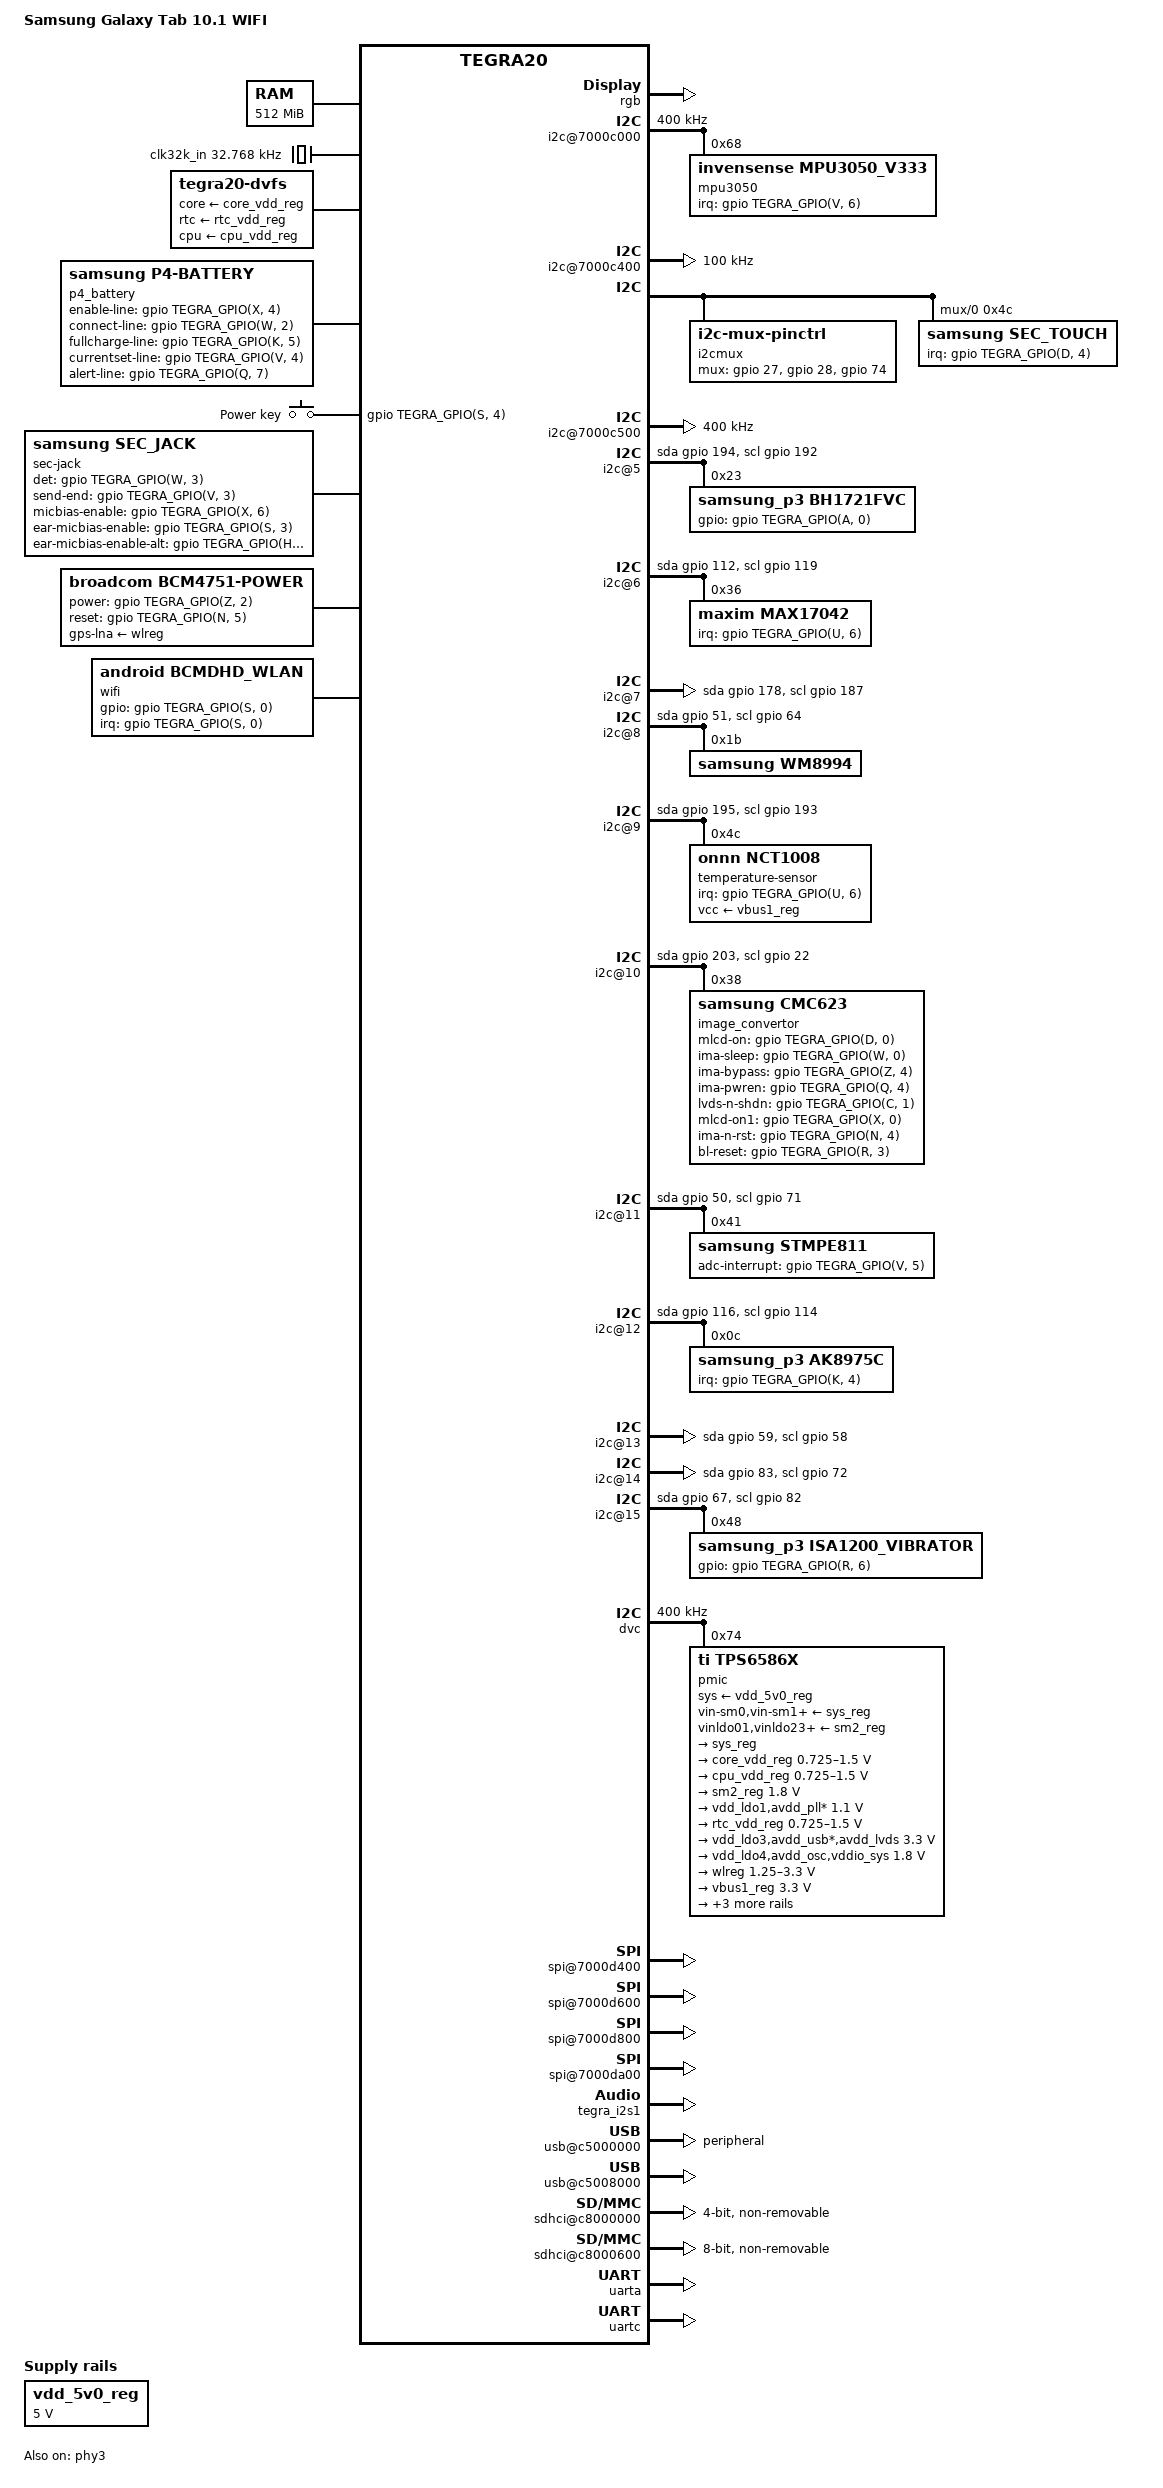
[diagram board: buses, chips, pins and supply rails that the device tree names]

/dts-v1/;

#include <dt-bindings/input/input.h>
#include "tegra20.dtsi"

/ {
	model = "Samsung Galaxy Tab 10.1 WIFI";
	compatible = "nvidia,samsung_p3", "nvidia,tegra20";

	aliases {
		rtc0 = "/i2c@7000d000/tps6586x@74";
		serial0 = &uarta;
		serial2 = &uartc;
	};

	chosen {
		bootargs = "androidboot.selinux=permissive androidboot.hardware=p3 firmware_class.path=/system/etc/firmware g_ffs.idVendor=0x18d1 g_ffs.idProduct=0x4e26 ignore_loglevel";
	};

	cache-controller@50043000 {
		compatible = "arm,pl310-cache";
		arm,prefetch-offset = <5>;
		/* arm,shared-override; */
		cache-size = <0x100000>; // 1MB
		cache-sets = <4096>;
		cache-line-size = <32>;
	};

	memory {
		reg = <0x00000000 0x1FF00000>;
		reg = <0x20000000 0x20000000>;
	};

	/* Disable tegra20-rtc because it breaks tps6586x rtc */
	rtc@7000e000 {
		compatible = "nvidia,tegra20-rtc";
		status = "disabled";
	};

	clocks {
		compatible = "simple-bus";
		#address-cells = <1>;
		#size-cells = <0>;

		clk32k_in: clock@0 {
			compatible = "fixed-clock";
			reg=<0>;
			#clock-cells = <0>;
			clock-frequency = <32768>;
		};
	};

	cmc623_pwm {
		compatible = "samsung,cmc623-pwm";

		default-brightness = <150>;

		max-brightness = <255>;
		mid-brightness = <150>;
		low-brightness = <50>;
		dim-brightness = <15>;

		max-backlight = <1600>;
		mid-backlight = <784>;
		low-backlight = <90>;
		dim-backlight = <50>;
		dark-backlight = <0>;
	};

	nvmap {
		compatible = "nvidia,tegra-nvmap";
		#address-cells = <1>;
		#size-cells = <1>;
		ranges;

		carveouts {
			#address-cells = <1>;
			#size-cells = <1>;
			ranges;

			iram {
				reg = <0x40000400 0x3FC00>;
				reg-names = "iram";
				buddy-size = <0>;
				usage-mask = <0x20000000>;
			};

			generic {
				reg = <0x30000000 0x10000000>;
				reg-names = "generic-0";
				buddy-size = <0x8000>;
				usage-mask = <0x1>;
			};
		};
	};

	host1x@50000000 {
		compatible = "nvidia,tegra20-host1x", "nvhost-bus";
		ranges;

		mpe@54040000 {
			clock-names = "mpe";
		};

		gr3d@54180000 {
			clock-names = "gr3d";
		};

		gr2d@54140000 {
			clocks = <&tegra_car TEGRA20_CLK_GR2D>,
				 <&tegra_car TEGRA20_CLK_EPP>;
			clock-names = "gr2d", "epp";
		};

		epp@540c0000 {
			clock-names = "epp";
		};

		dc@54200000 {
			reg = <0x54200000 0x00040000>,
			      <0x2E700000 0x00900000>;
			reg-names = "regs", "fbmem";
			interrupt-names = "irq";

			rgb {
				status = "okay";

				display {
					fb-win = <0>;
					fb-xres = <1280>;
					fb-yres = <800>;
					fb-bpp = <32>;

					dc-index = <0>;

					flags = <1>; /* TEGRA_DC_FLAG_ENABLED */

					type = <0>; /* TEGRA_DC_OUT_RGB */
					order = <0>; /* TEGRA_DC_ORDER_RED_BLUE */
					align = <0>; /* TEGRA_DC_ALIGN_MSB */
					depth = <24>;
					dither = <3>; /* TEGRA_DC_ERRDIFF_DITHER */

					default-emc-rate = <300000000>;
					min-emc-rate = <300000000>;

					display-timings {
						native-mode = <&timing0>;
						timing0: cmc623-lsi {
							clock-frequency = <68941176>;
							hactive = <1280>;
							vactive = <800>;
							hfront-porch = <16>;
							hback-porch = <64>;
							hsync-len = <48>;
							vsync-len = <3>;
							vfront-porch = <2>;
							vback-porch = <11>;
						};
						timing1: cmc623-fujitsu {
							clock-frequency = <76000000>;
							hactive = <1280>;
							vactive = <800>;
							hfront-porch = <16>;
							hback-porch = <64>;
							hsync-len = <48>;
							vsync-len = <18>;
							vfront-porch = <6>;
							vback-porch = <76>;
						};
					};
				};
			};
		};
	};

	tegra-avp {
		compatible = "nvidia,tegra20-avp";
		interrupts = <GIC_SPI 4 IRQ_TYPE_LEVEL_HIGH>;
		interrupt-names = "mbox_from_avp_pending";
		clocks = <&tegra_car TEGRA20_CLK_COP>,
			 <&tegra_car TEGRA20_CLK_VCP>,
			 <&tegra_car TEGRA20_CLK_BSEA>,
			 <&tegra_car TEGRA20_CLK_VDE>;
		clock-names = "cop", "vcp", "bsea", "vde";
		resets = <&tegra_car TEGRA20_CLK_COP>,
			 <&tegra_car TEGRA20_CLK_VCP>,
			 <&tegra_car TEGRA20_CLK_BSEA>,
			 <&tegra_car TEGRA20_CLK_VDE>;
		reset-names = "cop", "vcp", "bsea", "vde";
	};

	pinmux@70000014 {
		pinctrl-names = "default";
		pinctrl-0 = <&state_default>;

		state_default: pinmux {
			ata {
				nvidia,pins = "ata", "atc", "atd", "ate", "gmb",
					"gmd", "irrx", "irtx", "spid", "spie";
				nvidia,function = "gmi";
			};
			atb {
				nvidia,pins = "atb", "gma", "gme";
				nvidia,function = "sdio4";
			};
			cdev1 {
				nvidia,pins = "cdev1";
				nvidia,function = "plla_out";
			};
			cdev2 {
				nvidia,pins = "cdev2";
				nvidia,function = "pllp_out4";
			};
			crtp {
				nvidia,pins = "crtp";
				nvidia,function = "crt";
			};
			csus {
				nvidia,pins = "csus";
				nvidia,function = "vi_sensor_clk";
			};
			dap1 {
				nvidia,pins = "dap1";
				nvidia,function = "dap1";
			};
			dap2 {
				nvidia,pins = "dap2";
				nvidia,function = "dap2";
			};
			dap3 {
				nvidia,pins = "dap3";
				nvidia,function = "dap3";
			};
			dap4 {
				nvidia,pins = "dap4";
				nvidia,function = "dap4";
			};
			ddc {
				nvidia,pins ="spif", "uac";
				nvidia,function = "rsvd4";
			};
			spif {
				nvidia,pins = "spif", "uac";
				nvidia,function = "rsvd4";
			};
			dta {
				nvidia,pins = "dta", "dtb", "dtc", "dtd", "dte";
				nvidia,function = "vi";
			};
			dtf {
				nvidia,pins = "dtf";
				nvidia,function = "i2c3";
			};
			gmc {
				nvidia,pins = "gmc";
				nvidia,function = "uartd";
			};
			gpu {
				nvidia,pins = "gpu";
				nvidia,function = "uarta";
			};
			gpu7 {
				nvidia,pins = "gpu7";
				nvidia,function = "rtck";
			};
			gpv {
				nvidia,pins = "gpv", "slxa", "slxk";
				nvidia,function = "pcie";
			};
			hdint {
				nvidia,pins = "hdint";
				nvidia,function = "hdmi";
			};
			i2cp {
				nvidia,pins = "i2cp";
				nvidia,function = "i2cp";
			};
			kbca {
				nvidia,pins = "kbca", "kbcb", "kbcc", "kbcd",
					"kbce", "kbcf";
				nvidia,function = "kbc";
			};
			lcsn {
				nvidia,pins = "lcsn",
					"ld0", "ld1", "ld2", "ld3", "ld4",
					"ld5", "ld6", "ld7", "ld8", "ld9",
					"ld10", "ld11", "ld12", "ld13", "ld14",
					"ld15", "ld16", "ld17", "ldc", "ldi",
					"lhp0", "lhp1", "lhp2", "lhs",
					"lm1", "lpp", "lpw1",
					"lsc0", "lsck", "lsda", "lsdi",
					"lspi", "lvp0", "lvp1", "lvs";
				nvidia,function = "displaya";
			};
			lm0 {
				nvidia,pins = "lm0", "lpw0", "lpw2", "lsc1";
				nvidia,function = "spi3";
			};
			owc {
				nvidia,pins = "owc";
				nvidia,function = "owr";
			};
			pmc {
				nvidia,pins = "pmc";
				nvidia,function = "pwr_on";
			};
			rm {
				nvidia,pins = "rm";
				nvidia,function = "i2c1";
			};
			sdb {
				nvidia,pins = "sdb", "sdc", "sdd";
				nvidia,function = "sdio3";
			};
			sdio1 {
				nvidia,pins = "sdio1";
				nvidia,function = "sdio1";
			};
			slxc {
				nvidia,pins = "slxc", "slxd";
				nvidia,function = "spi4";
			};
			spdi {
				nvidia,pins = "spdi", "spdo";
				nvidia,function = "rsvd2";
			};
			spia {
				nvidia,pins = "spia", "spib", "spic";
				nvidia,function = "spi1";
			};
			spig {
				nvidia,pins = "spig", "spih";
				nvidia,function = "spi2_alt";
			};
			uaa {
				nvidia,pins = "uaa", "uab", "uda";
				nvidia,function = "ulpi";
			};
			uad {
				nvidia,pins = "uad";
				nvidia,function = "irda";
			};
			uca {
				nvidia,pins = "uca", "ucb";
				nvidia,function = "uartc";
			};

			ck32 {
				nvidia,pins = "ck32", "ddrc", "pmca", "pmcb", "pmcc", "pmcd", "pmce", "xm2c","xm2d";
			};

			conf_ata {
				nvidia,pins = "ata", "atb", "ddc", "gma", "gmd", "gme", "gpu",
					"irtx", "kbca", "kbcc", "kbce", "pmce", "spie", "spig",
					"spih", "uad", "uca", "ucb";
				nvidia,pull = <TEGRA_PIN_PULL_UP>;
				nvidia,tristate = <TEGRA_PIN_DISABLE>;
			};

			conf_owc {
				nvidia,pins = "owc";
				nvidia,pull = <TEGRA_PIN_PULL_UP>;
				nvidia,tristate = <TEGRA_PIN_ENABLE>;
			};

			conf_atc {
				nvidia,pins = "atc", "atd", "ate", "cdev1", "cdev2", "dap1",
				"dap2", "dap4", "dte", "gmc", "gpu7", "gpv", "i2cp",
				"pta", "rm", "sdio1", "slxc", "slxd", "slxk", "spdi", "spdo",
				"uaa", "uab", "uac", "uda";
				nvidia,pull = <TEGRA_PIN_PULL_NONE>;
				nvidia,tristate = <TEGRA_PIN_DISABLE>;
			};

			conf_ck32 {
				nvidia,pins = "ck32", "ddrc", "pmca", "pmcb",
					"pmcc", "pmcd", "xm2c", "xm2d";
				nvidia,pull = <TEGRA_PIN_PULL_NONE>;
				nvidia,tristate = <TEGRA_PIN_DISABLE>;
			};

			conf_crtp {
				nvidia,pins = "crtp", "slxa";
				nvidia,pull = <TEGRA_PIN_PULL_NONE>;
				nvidia,tristate = <TEGRA_PIN_ENABLE>;
			};

			conf_csus {
				nvidia,pins = "csus";
				nvidia,pull = <TEGRA_PIN_PULL_DOWN>;
				nvidia,tristate = <TEGRA_PIN_ENABLE>;
			};

			conf_dap3 {
				nvidia,pins = "dap3", "dta", "dtb", "dtc", "dtd", "dtf",
				"gmb", "irrx", "kbcb", "kbcd", "kbcf",
				"sdc", "sdd", "spia", "spib", "spic", "spid", "spif";
				nvidia,pull = <TEGRA_PIN_PULL_DOWN>;
				nvidia,tristate = <TEGRA_PIN_DISABLE>;
			};

			/* Pull up/down configs from v3.1.10 kernel that don't work on upstream kernel. */
			conf_lcsn {
				nvidia,pins =
					/* pull up */
					"lcsn", "ldc", "lpw0", "lpw1",
					"lpw2", "lsc1", "lsck", "lsda", "lsdi",

					/* pull down */
					"ld0", "ld1", "ld2", "ld3", "ld4", "ld5", "ld6", "ld7", "ld8",
					"ld9", "ld10", "ld11", "ld12", "ld13", "ld14", "ld15",
					"ld16", "ld17", "ldi", "lhp0", "lhp1", "lhp2", "lpp", "lvp1",

					/* pull none */
					"lhs", "lm0", "lm1", "lsc0", "lspi", "lvs", "pmc", "sdb",
					"hdint",
					"lvp0";

				nvidia,tristate = <TEGRA_PIN_DISABLE>;
			};
			conf_lvp0 {
				nvidia,pins = "lvp0";
				nvidia,tristate = <TEGRA_PIN_ENABLE>;
			};

			drive_sdio1 {
				nvidia,pins = "drive_sdio1";
				nvidia,high-speed-mode = <TEGRA_PIN_DISABLE>;
				nvidia,schmitt = <TEGRA_PIN_ENABLE>;
				nvidia,low-power-mode = <TEGRA_PIN_LP_DRIVE_DIV_1>;
				nvidia,pull-down-strength = <31>;
				nvidia,pull-up-strength = <31>;
				nvidia,slew-rate-rising = <TEGRA_PIN_SLEW_RATE_SLOWEST>;
				nvidia,slew-rate-falling = <TEGRA_PIN_SLEW_RATE_SLOWEST>;
			};
		};

		state_i2cmux_ddc: pinmux_i2cmux_ddc {
			ddc {
				nvidia,pins = "ddc";
				nvidia,function = "i2c2";
			};
			pta {
				nvidia,pins = "pta";
				nvidia,function = "rsvd4";
			};
		};

		state_i2cmux_pta: pinmux_i2cmux_pta {
			ddc {
				nvidia,pins = "ddc";
				nvidia,function = "rsvd4";
			};
			pta {
				nvidia,pins = "pta";
				nvidia,function = "i2c2";
			};
		};
		state_i2cmux_idle: pinmux_i2cmux_idle {
			ddc {
				nvidia,pins = "ddc";
				nvidia,function = "rsvd4";
			};
			pta {
				nvidia,pins = "pta";
				nvidia,function = "rsvd4";
			};
		};
	};

	i2c@7000c000 {
		status = "okay";
		clock-frequency = <400000>;

		mpu3050@68 {
			compatible = "invensense,mpu3050_v333";
			reg = <0x68>;
			interrupt-parent = <&gpio>;
			interrupts = <TEGRA_GPIO(V, 6) IRQ_TYPE_LEVEL_HIGH>;

			int-config = <0x10>;
			level-shifter = <1>;
			orientation = /bits/ 8 <0	0xff	0
						0xff	0	0
						0	0	0xff>;

			accelerometer {
				bus-secondary;
				address = <0xF>;
				orientation = /bits/ 8 <0xff	0	0
							0	1	0
							0	0	0xff>;
			};

			compass {
				bus-primary;
				address = <0xC>;
				orientation = /bits/ 8 <0	1	0
							1	0	0
							0	0	0xff>;
			};
		};
	};

	i2c@7000c400 {
		status = "okay";
		clock-frequency = <100000>;
	};

	i2cmux {
		compatible = "i2c-mux-pinctrl";
		#address-cells = <1>;
		#size-cells = <0>;

		mux-gpios = <&gpio 27 0 &gpio 28 0 &gpio 74 0>;

		i2c-parent = <&{/i2c@7000c400}>;

		pinctrl-names = "ddc", "pta", "idle";
		pinctrl-0 = <&state_i2cmux_ddc>;
		pinctrl-1 = <&state_i2cmux_pta>;
		pinctrl-2 = <&state_i2cmux_idle>;

		i2c@0 {
			reg = <0>;
			#address-cells = <1>;
			#size-cells = <0>;
			@4C {
				compatible = "samsung,sec_touch";
				reg = <0x4C>;
				interrupt-parent = <&gpio>;
				interrupts = <TEGRA_GPIO(D, 4) IRQ_TYPE_LEVEL_HIGH>;

				touch-en = <TEGRA_GPIO(J, 2) IRQ_TYPE_LEVEL_HIGH>;
				touch-rst = <TEGRA_GPIO(D, 3) IRQ_TYPE_LEVEL_HIGH>;
				touch-int = <TEGRA_GPIO(D, 4) IRQ_TYPE_LEVEL_HIGH>;
			};
		};

		i2c@1 {
			reg = <1>;
			#address-cells = <1>;
			#size-cells = <0>;
		};
	};

	i2c@7000c500 {
		status = "okay";
		clock-frequency = <400000>;
	};

	i2c@5 {
		compatible = "i2c-gpio";
		gpios = <&gpio 194 0 /* sda */
			 &gpio 192 0 /* scl */
			>;
		i2c-gpio,delay-us = <1>;
		#address-cells = <1>;
		#size-cells = <0>;

		@23 {
			compatible = "samsung_p3,bh1721fvc";
			reg = <0x23>;

			gpios = <&gpio TEGRA_GPIO(A, 0) IRQ_TYPE_LEVEL_HIGH>;
		};
	};
	i2c@6 {
		compatible = "i2c-gpio";
		gpios = <&gpio 112 0 /* sda */
			 &gpio 119 0 /* scl */
			>;
		i2c-gpio,delay-us = <1>;
		#address-cells = <1>;
		#size-cells = <0>;

		@36 {
			compatible = "maxim,max17042";
			reg = <0x36>;
			interrupt-parent = <&gpio>;
			interrupts = <TEGRA_GPIO(U, 6) IRQ_TYPE_LEVEL_HIGH>;

			sdi-capacity = <0x340A>;
			sdi-vfcapacity = <0x478A>;
			atl-capacity = <0x349A>;
			atl-vfcapacity = <0x4630>;
			fuel-alert-line = <135>; /* GPIO_FUEL_ALRT		TEGRA_GPIO_PQ7 */
		};
	};
	i2c@7 {
		compatible = "i2c-gpio";
		gpios = <&gpio 178 0 /* sda */
			 &gpio 187 0 /* scl */
			>;
		i2c-gpio,delay-us = <1>;
		#address-cells = <1>;
		#size-cells = <0>;
	};
	i2c@8 {
		compatible = "i2c-gpio";
		gpios = <&gpio 51 0 /* sda */
			 &gpio 64 0 /* scl */
			>;
		i2c-gpio,delay-us = <1>;
		#address-cells = <1>;
		#size-cells = <0>;

		wm8994: wm8994@1B {
			compatible = "samsung,wm8994";
			reg = <0x1B>;
		};
	};
	i2c@9 {
		compatible = "i2c-gpio";
		gpios = <&gpio 195 0 /* sda */
			 &gpio 193 0 /* scl */
			>;
		i2c-gpio,delay-us = <1>;
		#address-cells = <1>;
		#size-cells = <0>;

		temperature-sensor@4c {
			compatible = "onnn,nct1008";
			reg = <0x4c>;
			vcc-supply = <&vbus1_reg>;
			interrupt-parent = <&gpio>;
			interrupts = <TEGRA_GPIO(U, 6) IRQ_TYPE_LEVEL_HIGH>;
		};
	};
	i2c@10 {
		compatible = "i2c-gpio";
		gpios = <&gpio 203 0 /* sda */
			 &gpio 22 0 /* scl */
			>;
		i2c-gpio,delay-us = <3>;
		i2c-gpio,timeout-ms = <0>;
		#address-cells = <1>;
		#size-cells = <0>;

		image_convertor@38 {
			compatible = "samsung,cmc623";
			reg = <0x38>;

			mlcd-on = <&gpio TEGRA_GPIO(D, 0) GPIO_ACTIVE_HIGH>;
			ima-sleep = <&gpio TEGRA_GPIO(W, 0) GPIO_ACTIVE_HIGH>;
			ima-bypass = <&gpio TEGRA_GPIO(Z, 4) GPIO_ACTIVE_HIGH>;
			ima-pwren = <&gpio TEGRA_GPIO(Q, 4) GPIO_ACTIVE_HIGH>;
			lvds-n-shdn = <&gpio TEGRA_GPIO(C, 1) GPIO_ACTIVE_HIGH>;
			mlcd-on1 = <&gpio TEGRA_GPIO(X, 0) GPIO_ACTIVE_HIGH>;
			ima-n-rst = <&gpio TEGRA_GPIO(N, 4) GPIO_ACTIVE_HIGH>;
			bl-reset = <&gpio TEGRA_GPIO(R, 3) GPIO_ACTIVE_HIGH>;
		};
	};
	i2c@11 {
		compatible = "i2c-gpio";
		gpios = <&gpio 50 0 /* sda */
			 &gpio 71 0 /* scl */
			>;
		i2c-gpio,delay-us = <3>;
		#address-cells = <1>;
		#size-cells = <0>;

		@41 {
			compatible = "samsung,stmpe811";
			reg = <0x41>;

			adc-interrupt-gpio =  <&gpio TEGRA_GPIO(V, 5) GPIO_ACTIVE_HIGH>;
		};
	};
	i2c@12 {
		compatible = "i2c-gpio";
		gpios = <&gpio 116 0 /* sda */
			 &gpio 114 0 /* scl */
			>;
		i2c-gpio,delay-us = <1>;
		#address-cells = <1>;
		#size-cells = <0>;

		@0C {
			compatible = "samsung_p3,ak8975c";
			reg = <0x0C>;
			interrupt-parent = <&gpio>;
			interrupts = <TEGRA_GPIO(K, 4) IRQ_TYPE_LEVEL_HIGH>;
		};
	};
	i2c@13 {
		compatible = "i2c-gpio";
		gpios = <&gpio 59 0 /* sda */
			 &gpio 58 0 /* scl */
			>;
		i2c-gpio,delay-us = <3>;
		#address-cells = <1>;
		#size-cells = <0>;
	};
	i2c@14 {
		compatible = "i2c-gpio";
		gpios = <&gpio 83 0 /* sda */
			 &gpio 72 0 /* scl */
			>;
		i2c-gpio,delay-us = <3>;
		#address-cells = <1>;
		#size-cells = <0>;
	};
	i2c@15 {
		compatible = "i2c-gpio";
		gpios = <&gpio 67 0 /* sda */
			 &gpio 82 0 /* scl */
			>;
		i2c-gpio,delay-us = <1>;
		#address-cells = <1>;
		#size-cells = <0>;

		@48 {
			compatible = "samsung_p3,isa1200_vibrator";
			reg = <0x48>;
			gpios = <&gpio TEGRA_GPIO(R, 6) IRQ_TYPE_LEVEL_HIGH>;

			max-timeout = <10000>;
			ctrl0 = <17>;
			ctrl1 = <192>;
			ctrl2 = <0>;
			ctrl4 = <0>;
			pll = <0x23>;
			duty = <0x71>;
			period = <0x74>;

			clocks = <&tegra_car TEGRA20_CLK_CDEV2>;
			clock-names = "vibrator-clk";
		};
	};

	dvc: i2c@7000d000 {
		status = "okay";
		clock-frequency = <400000>;

		pmic: tps6586x@74 {
			compatible = "ti,tps6586x";
			reg = <0x74>;
			interrupts = <GIC_SPI 86 IRQ_TYPE_LEVEL_HIGH>;

			ti,system-power-controller;
			#gpio-cells = <2>;
			gpio-controller;

			sys-supply = <&vdd_5v0_reg>;
			vin-sm0-supply = <&sys_reg>;
			vin-sm1-supply = <&sys_reg>;
			vin-sm2-supply = <&sys_reg>;
			vinldo01-supply = <&sm2_reg>;
			vinldo23-supply = <&sm2_reg>;
			vinldo4-supply = <&sm2_reg>;
			vinldo678-supply = <&sm2_reg>;
			vinldo9-supply = <&sm2_reg>;

			regulators {
				sys_reg: sys {
					regulator-name = "vdd_sys";
					regulator-boot-on;
					regulator-always-on;
				};

				core_vdd_reg: sm0 {
					regulator-name = "vdd_sm0,vdd_core";
					regulator-min-microvolt = <725000>;
					regulator-max-microvolt = <1500000>;
					regulator-always-on;
				};

				cpu_vdd_reg: sm1 {
					regulator-name = "vdd_sm1,vdd_cpu";
					regulator-min-microvolt = <725000>;
					regulator-max-microvolt = <1500000>;
					regulator-always-on;
				};

				sm2_reg: sm2 {
					regulator-name = "vdd_sm2,DBVDD,AVDD2,CPVDD";
					regulator-min-microvolt = <1800000>;
					regulator-max-microvolt = <1800000>;
					regulator-always-on;
				};

				/* LDO0 is not connected to anything */

				ldo1 {
					regulator-name = "vdd_ldo1,avdd_pll*";
					regulator-min-microvolt = <1100000>;
					regulator-max-microvolt = <1100000>;
					regulator-always-on;
				};

				rtc_vdd_reg: ldo2 {
					regulator-name = "vdd_ldo2,vdd_rtc,vdd_aon";
					regulator-min-microvolt = <725000>;
					regulator-max-microvolt = <1500000>;
					regulator-always-on;
				};

				ldo3 {
					regulator-name = "vdd_ldo3,avdd_usb*,avdd_lvds";
					regulator-min-microvolt = <3300000>;
					regulator-max-microvolt = <3300000>;
					regulator-always-on;
				};

				ldo4 {
					regulator-name = "vdd_ldo4,avdd_osc,vddio_sys";
					regulator-min-microvolt = <1800000>;
					regulator-max-microvolt = <1800000>;
					regulator-always-on;
				};

				wlreg: ldo5 {
					regulator-name = "vdd_ldo5,vcore_mmc";
					regulator-min-microvolt = <1250000>;
					regulator-max-microvolt = <3300000>;
				};

				vbus1_reg: ldo6 {
					regulator-name = "vdd_ldo6,vddio_vi,vdd_nct1008";
					regulator-min-microvolt = <3300000>;
					regulator-max-microvolt = <3300000>;
					regulator-boot-on;
				};

				ldo7 {
					regulator-name = "vdd_ldo7,avdd_hdmi,vdd_fuse";
					regulator-min-microvolt = <3300000>;
					regulator-max-microvolt = <3300000>;
				};

				ldo8 {
					regulator-name = "vdd_ldo8,avdd_hdmi_pll";
					regulator-min-microvolt = <1800000>;
					regulator-max-microvolt = <1800000>;
				};

				ldo9 {
					regulator-name = "vdd_ldo9,avdd_2v85,vdd_ddr_rx";
					regulator-min-microvolt = <2850000>;
					regulator-max-microvolt = <2850000>;
					regulator-always-on;
				};
/*
	DO NOT ENABLE THIS
	  reboot will fail
				ldo_rtc {
					regulator-name = "vdd_rtc_out,vdd_cell";
					regulator-min-microvolt = <3300000>;
					regulator-max-microvolt = <3300000>;
				};
*/
			};
		};
	};

	spi@7000d400 {
		compatible = "nvidia,tegra20-slink";
		status = "okay";
	};

	spi@7000d600 {
		compatible = "nvidia,tegra20-slink";
		status = "okay";
	};

	spi@7000d800 {
		compatible = "nvidia,tegra20-slink";
		status = "okay";
	};

	spi@7000da00 {
		compatible = "nvidia,tegra20-slink";
		status = "okay";
	};

	spi@7000c380 {
		compatible = "nvidia,tegra20-sflash";
		status = "disabled";
	};

	pmc@7000e400 {
		nvidia,invert-interrupt;
		nvidia,suspend-mode = <0>;
		nvidia,cpu-pwr-good-time = <5000>;
		nvidia,cpu-pwr-off-time = <5000>;
		nvidia,core-pwr-good-time = <3845 3845>;
		nvidia,core-pwr-off-time = <3875>;
		nvidia,sys-clock-req-active-high;
		nvidia,lp0-vec = <0x1840E000 0x2000>;
	};
	
	regulators {
		compatible = "simple-bus";
		#address-cells = <1>;
		#size-cells = <0>;

		vdd_5v0_reg: regulator@0 {
			compatible = "regulator-fixed";
			reg = <0>;
			regulator-name = "vdd_5v0";
			regulator-min-microvolt = <5000000>;
			regulator-max-microvolt = <5000000>;
			regulator-always-on;
		};

		/*
		vbus1_reg: regulator@3 {
			compatible = "regulator-fixed";
			reg = <4>;
			regulator-name = "vdd_ldo3,avdd_usb*,avdd_lvds";
			regulator-min-microvolt = <3300000>;
			regulator-max-microvolt = <3300000>;
			gpio = <&gpio TEGRA_GPIO(R, 7) GPIO_ACTIVE_HIGH>;
			enable-active-high;
			regulator-always-on;
			regulator-boot-on;
		};
		*/
	};

	dvfs {
		compatible = "tegra20-dvfs";
		core-supply = <&core_vdd_reg>;
		rtc-supply = <&rtc_vdd_reg>;
		cpu-supply = <&cpu_vdd_reg>;

		clocks = <&tegra_car TEGRA20_CLK_DISP1>,
			 <&tegra_car TEGRA20_CLK_DISP2>,
			 <&tegra_car TEGRA20_CLK_HDMI>,
			 <&tegra_car TEGRA20_CLK_EPP>,
			 <&tegra_car TEGRA20_CLK_GR2D>,
			 <&tegra_car TEGRA20_CLK_GR3D>,
			 <&tegra_car TEGRA20_CLK_MPE>,
			 <&tegra_car TEGRA20_CLK_HOST1X>,
			 <&tegra_car TEGRA20_CLK_VI>,
			 <&tegra_car TEGRA20_CLK_CSI>,
			 <&tegra_car TEGRA20_CLK_VDE>,
			 <&tegra_car TEGRA20_CLK_MIPI>,
			 <&tegra_car TEGRA20_CLK_USBD>,
			 <&tegra_car TEGRA20_CLK_USB2>,
			 <&tegra_car TEGRA20_CLK_USB3>,
			 <&tegra_car TEGRA20_CLK_EMC>;
		clock-names = "disp1", "disp2", "hdmi", "epp", "2d", "3d",
				"mpe", "host1x", "vi", "csi", "vde", "mipi",
				"usbd", "usb2", "usb3", "emc";
	};

	p4_battery {
		status = "okay";
		compatible = "samsung,p4-battery";

		enable-line =  <&gpio TEGRA_GPIO(X, 4) GPIO_ACTIVE_HIGH>;
		connect-line =  <&gpio TEGRA_GPIO(W, 2) GPIO_ACTIVE_HIGH>;
		fullcharge-line =  <&gpio TEGRA_GPIO(K, 5) GPIO_ACTIVE_HIGH>;
		currentset-line =  <&gpio TEGRA_GPIO(V, 4) GPIO_ACTIVE_HIGH>;
		alert-line =  <&gpio TEGRA_GPIO(Q, 7) GPIO_ACTIVE_HIGH>;

		temp-high-threshold = <50000>;
		temp-high-recovery = <42000>;
		temp-low-recovery = <2000>;
		temp-low-threshold = <0>;
		charge-duration = <36000>;
		recharge-duration = <5400>;
		recharge-voltage = <4150>;
	};

	gpio-keys {
		compatible = "gpio-keys";

		power {
			label = "Power key";
			gpios = <&gpio TEGRA_GPIO(S, 4) GPIO_ACTIVE_HIGH>;
			linux,code = <116>; /* KEY_POWER */
			gpio-key,wakeup;
			debounce-interval = <10>;
		};
	};

	keyboard: keyboard {
		compatible = "nvidia,tegra20-kbc";
		reg = <0x7000e200 0x100>;
		interrupts = <0 85 0x04>;
		clocks = <&tegra_car 36>;
		resets = <&tegra_car 36>;
		reset-names = "kbc";
		nvidia,debounce-delay-ms = <10>;
		nvidia,repeat-delay-ms = <1024>;
		nvidia,kbc-row-pins = <0 1>;
		nvidia,kbc-col-pins = <17>;
		linux,keymap = <
			MATRIX_KEY(0x00, 0x00, KEY_VOLUMEDOWN)
			MATRIX_KEY(0x01, 0x00, KEY_VOLUMEUP) >;
	};

	sec-jack {
		compatible = "samsung,sec_jack";

		det-gpio = <&gpio TEGRA_GPIO(W, 3) GPIO_ACTIVE_HIGH>;
		send-end-gpio = <&gpio TEGRA_GPIO(V, 3) GPIO_ACTIVE_HIGH>;

		micbias-enable = <&gpio TEGRA_GPIO(X, 6) GPIO_ACTIVE_HIGH>;
		ear-micbias-enable = <&gpio TEGRA_GPIO(S, 3) GPIO_ACTIVE_HIGH>;
		ear-micbias-enable-alt = <&gpio TEGRA_GPIO(H, 3) GPIO_ACTIVE_HIGH>;

		jack-zones {
			jack_zone0 {
				adc-high = <0>;
				delay-ms = <0>;
				check-count = <2>;
				jack-type = <2>; /* SEC_HEADSET_3POLE */
			};
			jack_zone1 {
				adc-high = <900>;
				delay-ms = <0>;
				check-count = <20>;
				jack-type = <2>; /* SEC_HEADSET_3POLE */
			};
			jack_zone2 {
				adc-high = <2000>;
				delay-ms = <0>;
				check-count = <2>;
				jack-type = <1>; /* SEC_HEADSET_4POLE */
			};
			jack_zone3 {
				adc-high = <3800>;
				delay-ms = <0>;
				check-count = <2>;
				jack-type = <1>; /* SEC_HEADSET_4POLE */
			};
			jack_zone4 {
				adc-high = <0x7fffffff>;
				delay-ms = <0>;
				check-count = <50>;
				jack-type = <2>; /* SEC_HEADSET_3POLE */
			};
		};

		jack-button-zones {
			jack_button0 {
				code = <KEY_MEDIA>;
				adc-low = <0>;
				adc-high = <150>;
			};
			jack_button1 {
				code = <KEY_VOLUMEUP>;
				adc-low = <151>;
				adc-high = <330>;
			};
			jack_button2 {
				code = <KEY_VOLUMEDOWN>;
				adc-low = <331>;
				adc-high = <1000>;
			};
		};
	};

	tegra_i2s1: i2s@70002800 {
		status = "okay";
	};

	sound {
		compatible = "nvidia,tegra-audio-wm8994";
		nvidia,model = "WM8994 NVIDIA Tegra P4WIFI";

		nvidia,i2s-controller = <&tegra_i2s1>;
		nvidia,audio-codec = <&wm8994>;

		clocks = <&tegra_car TEGRA20_CLK_PLL_A>,
			 <&tegra_car TEGRA20_CLK_PLL_A_OUT0>,
			 <&tegra_car TEGRA20_CLK_CDEV1>;
		clock-names = "pll_a", "pll_a_out0", "mclk";
	};
/*
	bcm4330-bluetooth {
		compatible = "broadcom,bcm4330-bluetooth";
		gpio-bt-en = <&gpio TEGRA_GPIO(J, 5) GPIO_ACTIVE_HIGH>;
		gpio-bt-nrst = <&gpio TEGRA_GPIO(W, 1) GPIO_ACTIVE_HIGH>;
		gpio-bt-wake = <&gpio TEGRA_GPIO(S, 1) GPIO_ACTIVE_HIGH>;
		gpio-bt-hostwake = <&gpio TEGRA_GPIO(S, 2) GPIO_ACTIVE_HIGH>;
	};
*/

	bcm4751-power {
		compatible = "broadcom,bcm4751-power";
		power-gpio = <&gpio TEGRA_GPIO(Z, 2) GPIO_ACTIVE_HIGH>;
		reset-gpio = <&gpio TEGRA_GPIO(N, 5) GPIO_ACTIVE_HIGH>;
		gps-lna-supply = <&wlreg>;
	};

	usb@c5000000 {
		compatible = "nvidia,tegra20-udc"; 
		status = "okay";
		dr_mode = "peripheral";
	};

	usb-phy@c5000000 {
		status = "okay";
/*
		phy_type = "utmi";
		nvidia,hssync-start-delay = <9>;
		nvidia,elastic-limit = <16>;
		nvidia,idle-wait-delay = <17>;
		nvidia,term-range-adj = <6>;
		
		nvidia,xcvr-setup-use-fuses;
		
		nvidia,xcvr-lsfslew = <2>;
		nvidia,xcvr-lsrslew = <2>;

		dr_mode = "peripheral";
*/
		vbus-supply = <&vbus1_reg>;
	};
/*
	usb@c5004000 {
		compatible = "nvidia,tegra20-ehci", "usb-ehci";
		status = "okay";
	};

	phy2: usb-phy@c5004000 {
		compatible = "nvidia,tegra20-usb-phy";
		status = "okay";
		phy_type = "ulpi";
		nvidia,phy-reset-gpio = <TEGRA_GPIO(G, 2) IRQ_TYPE_LEVEL_HIGH>;
	};
*/
	usb@c5008000 {
		compatible = "nvidia,tegra20-ehci", "usb-ehci";
		status = "okay";
	};

	phy3: usb-phy@c5008000 {
		compatible = "nvidia,tegra20-usb-phy";
		status = "okay";
	};


	sdhci@c8000000 {
		status = "okay";
		bus-width = <4>;
		power-gpios = <&gpio TEGRA_GPIO(Q, 2) GPIO_ACTIVE_HIGH>;
		keep-power-in-suspend;
		broken-cd;
		no-1-8-v;
		non-removable;
		sd-ignore-pm-notify;
	};

	wifi {
		status = "okay";
		compatible = "android,bcmdhd_wlan";
		interrupt-parent = <&gpio>;
		interrupts = <TEGRA_GPIO(S, 0) IRQ_TYPE_LEVEL_HIGH>;
		interrupt-names = "bcmdhd_wlan_irq";

		gpios = <&gpio TEGRA_GPIO(S, 0) IRQ_TYPE_LEVEL_HIGH>;
	};

	sdhci@c8000600 {
		status = "okay";
		bus-width = <8>;
		non-removable;
	};

	uarta: serial@70006000 {
		compatible = "nvidia,tegra20-hsuart";
		status = "okay";
	};

	uartc: serial@70006200 {
		compatible = "nvidia,tegra20-hsuart";
		status = "okay";
	};

	memory-controller@7000f400 {
		#address-cells = < 1 >;
		#size-cells = < 0 >;
		compatible = "nvidia,tegra20-emc";

		emc-table@25000 {
			reg = <25000>;
			compatible = "nvidia,tegra20-emc-table";
			clock-frequency = < 25000 >;
			nvidia,emc-registers = < 0x00000002 0x00000006
				0x00000003 0x00000003 0x00000006 0x00000004
				0x00000002 0x00000008 0x00000003 0x00000003
				0x00000002 0x00000002 0x00000003 0x00000005
				0x00000004 0x00000008 0x0000000c 0x0000004d
				0x00000000 0x00000003 0x00000003 0x00000003
				0x00000008 0x00000001 0x0000000b 0x00000004
				0x00000003 0x00000008 0x00000004 0x00000008
				0x00000002 0x00000068 0x00000004 0x00000003
				0x00000000 0x00000000 0x00000282 0xa09404ae
				0x0007c000 0x00000000 0x00000000 0x00000003
				0x00000000 0x00000000 0x00000000 0x00000000 >;
		};
		emc-table@50000 {
			reg = <50000>;
			compatible = "nvidia,tegra20-emc-table";
			clock-frequency = < 50000 >;
			nvidia,emc-registers = < 0x00000003 0x00000007
				0x00000003 0x00000003 0x00000006 0x00000004
				0x00000002 0x00000008 0x00000003 0x00000003
				0x00000002 0x00000002 0x00000003 0x00000006
				0x00000004 0x00000008 0x0000000c 0x0000009f
				0x00000000 0x00000003 0x00000003 0x00000003
				0x00000008 0x00000001 0x0000000b 0x00000007
				0x00000003 0x00000008 0x00000004 0x00000008
				0x00000002 0x000000d0 0x00000005 0x00000000
				0x00000000 0x00000000 0x00000282 0xa09404ae
				0x0007c000 0x00000000 0x00000000 0x00000005
				0x00000000 0x00000000 0x00000000 0x00000000 >;
		};
		emc-table@75000 {
			reg = <75000>;
			compatible = "nvidia,tegra20-emc-table";
			clock-frequency = < 75000 >;
			nvidia,emc-registers = < 0x00000005 0x0000000a
				0x00000004 0x00000003 0x00000006 0x00000004
				0x00000002 0x00000008 0x00000003 0x00000003
				0x00000002 0x00000002 0x00000003 0x00000006
				0x00000004 0x00000008 0x0000000c 0x000000ff
				0x00000000 0x00000003 0x00000003 0x00000003
				0x00000008 0x00000001 0x0000000b 0x0000000b
				0x00000003 0x00000008 0x00000004 0x00000008
				0x00000002 0x00000138 0x00000005 0x00000000
				0x00000000 0x00000000 0x00000282 0xa09404ae
				0x0007c000 0x00000000 0x00000000 0x00000007
				0x00000000 0x00000000 0x00000000 0x00000000 >;
		};
		emc-table@150000 {
			reg = <150000>;
			compatible = "nvidia,tegra20-emc-table";
			clock-frequency = < 150000 >;
			nvidia,emc-registers = < 0x00000009 0x00000014
				0x00000007 0x00000003 0x00000006 0x00000004
				0x00000002 0x00000008 0x00000003 0x00000003
				0x00000002 0x00000002 0x00000003 0x00000006
				0x00000004 0x00000008 0x0000000c 0x0000021f
				0x00000000 0x00000003 0x00000003 0x00000003
				0x00000008 0x00000001 0x0000000b 0x00000015
				0x00000003 0x00000008 0x00000004 0x00000008
				0x00000002 0x00000270 0x00000005 0x00000001
				0x00000000 0x00000000 0x00000282 0xa06804ae
				0x007dc010 0x00000000 0x00000000 0x0000000e
				0x00000000 0x00000000 0x00000000 0x00000000 >;
		};
		emc-table@300000 {
			reg = <300000>;
			compatible = "nvidia,tegra20-emc-table";
			clock-frequency = < 300000 >;
			nvidia,emc-registers = < 0x00000009 0x00000017
				0x00000007 0x00000004 0x00000007 0x00000004
				0x00000002 0x00000008 0x00000004 0x00000004
				0x00000003 0x00000003 0x00000003 0x00000007
				0x00000004 0x00000009 0x0000000d 0x0000045f
				0x00000000 0x00000004 0x00000004 0x00000006
				0x00000008 0x00000001 0x0000000f 0x0000002a
				0x00000003 0x0000000f 0x00000004 0x00000007
				0x00000002 0x000004e0 0x00000006 0x00000002
				0x00000000 0x00000000 0x00000282 0xe04e048b
				0x007e0010 0x00000000 0x00000000 0x0000001b
				0x00000000 0x00000000 0x00000000 0x00000000 >;
		};
	};
};
